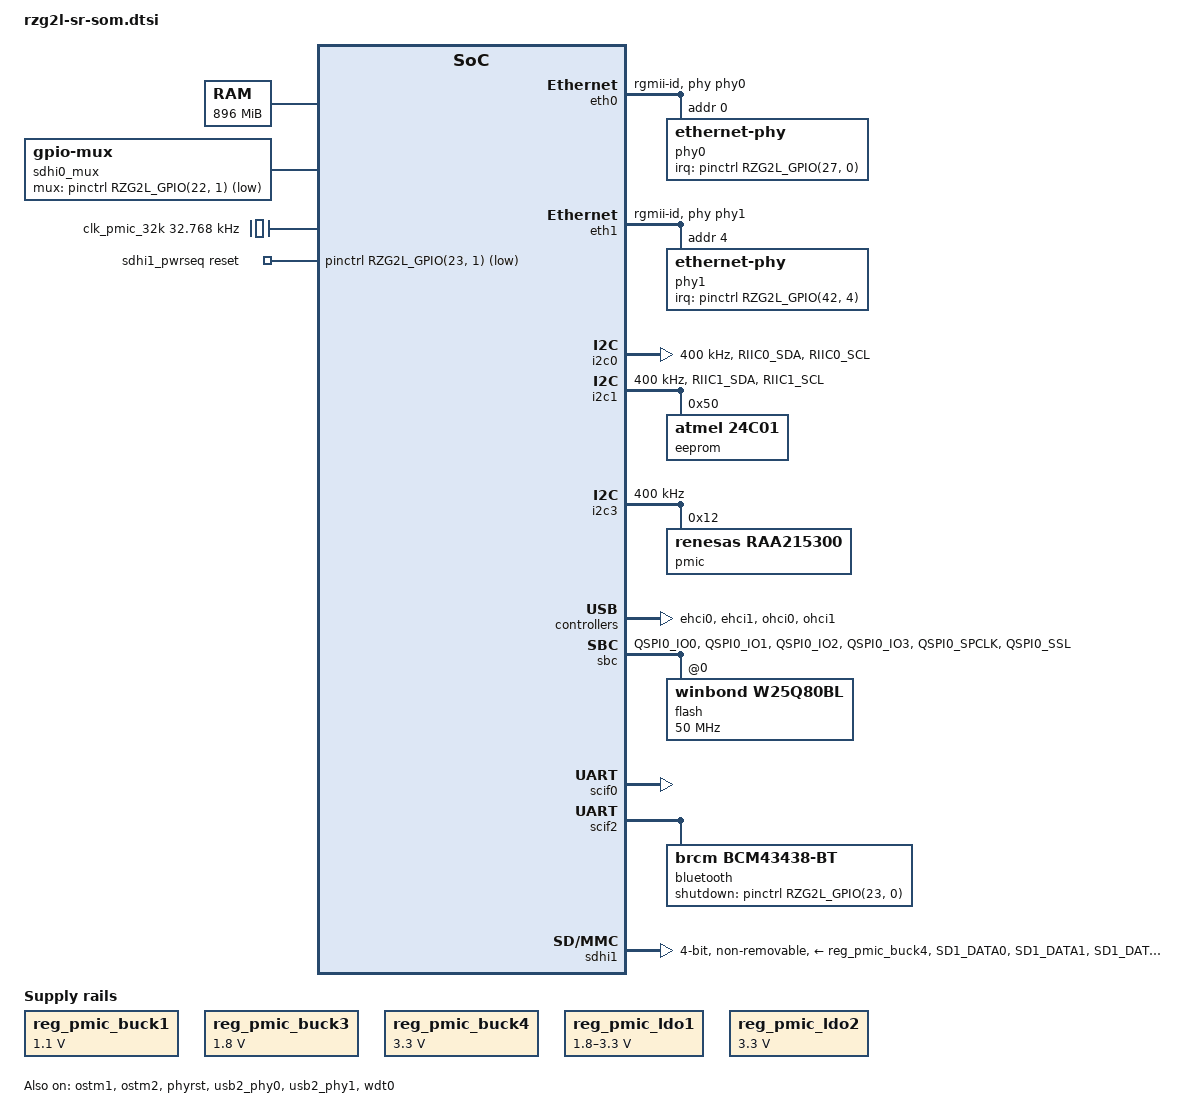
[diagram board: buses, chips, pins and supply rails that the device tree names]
// SPDX-License-Identifier: (GPL-2.0-only OR BSD-2-Clause)
/*
 * Device Tree Source for the RZ/G2LC Solidrun SOM
 *
 * Copyright 2023 SolidRun Ltd.
 * Copyright 2025 Josua Mayer <josua@solid-run.com>
 */

#include <dt-bindings/gpio/gpio.h>
#include <dt-bindings/pinctrl/rzg2l-pinctrl.h>

/ {
	aliases {
		serial0 = &scif0;
		serial1 = &scif1;
		serial2 = &scif2;
		i2c0 = &i2c0;
		i2c1 = &i2c1;
		i2c2 = &i2c3;
		mmc0 = &sdhi0;
		mmc1 = &sdhi1;
		ethernet0 = &eth0;
		ethernet1 = &eth1;
		rtc0 = &pmic;
	};

	chosen {
		stdout-path = "serial0:115200n8";
	};

	memory@48000000 {
		device_type = "memory";
		/* first 128MB is reserved for secure area. */
		reg = <0x0 0x48000000 0x0 0x38000000>;
	};

	reserved-memory {
		#address-cells = <2>;
		#size-cells = <2>;
		ranges;

		global_cma: linux,cma@58000000 {
			compatible = "shared-dma-pool";
			linux,cma-default;
			reusable;
			reg = <0x0 0x58000000 0x0 0x10000000>;
		};

		mmp_reserved: linux,multimedia {
			compatible = "shared-dma-pool";
			reusable;
			reg = <0x0 0x68000000 0x0 0x8000000>;
		};
	};

	mmngr {
		compatible = "renesas,mmngr";
		memory-region = <&mmp_reserved>;
	};

	mmngrbuf {
		compatible = "renesas,mmngrbuf";
	};

	vspm_if {
		compatible = "renesas,vspm_if";
	};

	sdhi0_mux: mux-controller-0 {
		compatible = "gpio-mux";
		#mux-control-cells = <0>;
		#mux-state-cells = <1>;
		/*
		 * Mux switches SD0_DATA[0-3], SD0_CMD & SD0_CLK between
		 * on-SoM eMMC and board-to-board connector using one gpio:
		 * 1 = connector, 0 = eMMC.
		 */
		mux-gpios = <&pinctrl RZG2L_GPIO(22, 1) GPIO_ACTIVE_LOW>;
	};

	clk_pmic_32k: pmic-32k-clock {
		compatible = "fixed-clock";
		#clock-cells = <0>;
		clock-frequency = <32768>;
	};

	reg_pmic_buck1: regulator-pmic-buck1 {
		compatible = "regulator-fixed";
		regulator-name = "pmic-buck1";
		regulator-min-microvolt = <1100000>;
		regulator-max-microvolt = <1100000>;
		regulator-boot-on;
		regulator-always-on;
	};

	reg_pmic_buck3: regulator-pmic-buck3 {
		compatible = "regulator-fixed";
		regulator-name = "pmic-buck3";
		regulator-min-microvolt = <1800000>;
		regulator-max-microvolt = <1800000>;
		regulator-boot-on;
		regulator-always-on;
	};

	reg_pmic_buck4: regulator-pmic-buck4 {
		compatible = "regulator-fixed";
		regulator-name = "pmic-buck4";
		regulator-min-microvolt = <3300000>;
		regulator-max-microvolt = <3300000>;
		regulator-boot-on;
		regulator-always-on;
	};

	reg_pmic_ldo1: regulator-pmic-ldo1 {
		compatible = "regulator-gpio";
		regulator-name = "pmic-ldo1";
		regulator-min-microvolt = <1800000>;
		regulator-max-microvolt = <3300000>;
		states = <3300000 1>, <1800000 0>;
		gpios = <&pinctrl RZG2L_GPIO(39, 0) GPIO_ACTIVE_HIGH>;
		regulator-boot-on;
		regulator-always-on;
	};

	reg_pmic_ldo2: regulator-pmic-ldo2 {
		compatible = "regulator-fixed";
		regulator-name = "pmic-ldo2";
		/*
		 * This ldo can switch mmc host controller io voltage between
		 * 1.8V and 3.3V by assembly option of pull-up / pull-dow.
		 * Default assembly is 3.3V.
		 */
		regulator-min-microvolt = <3300000>;
		regulator-max-microvolt = <3300000>;
		regulator-boot-on;
		regulator-always-on;
	};

	sdhi1_pwrseq: sdhi1-pwrseq {
		compatible = "mmc-pwrseq-simple";
		reset-gpios = <&pinctrl RZG2L_GPIO(23, 1) GPIO_ACTIVE_LOW>;
	};

	/* 32.768kHz crystal */
	x2: x2-clock {
		compatible = "fixed-clock";
		#clock-cells = <0>;
		clock-frequency = <32768>;
	};
};

&eth0 {
	pinctrl-0 = <&eth0_pins>;
	pinctrl-names = "default";
	phy-handle = <&phy0>;
	/*
	 * ravb driver does not configure mac internal delays for RZ/G2L(C),
	 * instead delays are added by the MxL86110 phy driver.
	 */
	phy-mode = "rgmii-id";
	status = "okay";

	phy0: ethernet-phy@0 {
		reg = <0>;
		interrupts-extended = <&pinctrl RZG2L_GPIO(27, 0) IRQ_TYPE_LEVEL_LOW>;
	};
};

&eth1 {
	pinctrl-0 = <&eth1_pins>;
	pinctrl-names = "default";
	phy-handle = <&phy1>;
	/*
	 * ravb driver does not configure mac internal delays for RZ/G2L(C),
	 * instead delays are added by the MxL86110 phy driver.
	 */
	phy-mode = "rgmii-id";
	status = "okay";

	phy1: ethernet-phy@4 {
		reg = <4>;
		interrupts-extended = <&pinctrl RZG2L_GPIO(42, 4) IRQ_TYPE_LEVEL_LOW>;
	};
};

&i2c0 {
	pinctrl-0 = <&i2c0_pins>;
	pinctrl-names = "default";
	clock-frequency = <400000>;
	status = "okay";
};

&i2c1 {
	pinctrl-0 = <&i2c1_pins>;
	pinctrl-names = "default";
	clock-frequency = <400000>;
	status = "okay";

	eeprom: eeprom@50 {
		compatible = "atmel,24c01";
		reg = <0x50>;
		pagesize = <16>;
	};
};

&i2c3 {
	pinctrl-0 = <&i2c3_pins>;
	pinctrl-names = "default";
	clock-frequency = <400000>;
	status = "okay";

	pmic: pmic@12 {
		compatible = "renesas,raa215300";
		reg = <0x12>, <0x6f>;
		reg-names = "main", "rtc";
		clocks = <&x2>;
		clock-names = "xin";
		/* enable MPIO0 reset output implementing restart handler */
		reset-output;
	};
};

&ehci0 {
	status = "okay";
};

&ehci1 {
	status = "okay";
};

&extal_clk {
	clock-frequency = <24000000>;
};

&gpu {
	mali-supply = <&reg_pmic_buck1>;
};

&ohci0 {
	status = "okay";
};

&ohci1 {
	status = "okay";
};

&ostm1 {
	status = "okay";
};

&ostm2 {
	status = "okay";
};

&phyrst {
	status = "okay";

	usb0_vbus_otg: regulator-vbus {
		regulator-name = "vbus";
	};
};

&pinctrl {
	eth0_pins: eth0 {
		pinmux = <RZG2L_PORT_PINMUX(28, 1, 1)>, /* ET0_LINKSTA */
			 <RZG2L_PORT_PINMUX(27, 1, 1)>, /* ET0_MDC */
			 <RZG2L_PORT_PINMUX(28, 0, 1)>, /* ET0_MDIO */
			 <RZG2L_PORT_PINMUX(20, 0, 1)>, /* ET0_TXC */
			 <RZG2L_PORT_PINMUX(20, 1, 1)>, /* ET0_TX_CTL */
			 <RZG2L_PORT_PINMUX(20, 2, 1)>, /* ET0_TXD0 */
			 <RZG2L_PORT_PINMUX(21, 0, 1)>, /* ET0_TXD1 */
			 <RZG2L_PORT_PINMUX(21, 1, 1)>, /* ET0_TXD2 */
			 <RZG2L_PORT_PINMUX(22, 0, 1)>, /* ET0_TXD3 */
			 <RZG2L_PORT_PINMUX(24, 0, 1)>, /* ET0_RXC */
			 <RZG2L_PORT_PINMUX(24, 1, 1)>, /* ET0_RX_CTL */
			 <RZG2L_PORT_PINMUX(25, 0, 1)>, /* ET0_RXD0 */
			 <RZG2L_PORT_PINMUX(25, 1, 1)>, /* ET0_RXD1 */
			 <RZG2L_PORT_PINMUX(26, 0, 1)>, /* ET0_RXD2 */
			 <RZG2L_PORT_PINMUX(26, 1, 1)>; /* ET0_RXD3 */
	};

	eth1_pins: eth1 {
		pinmux = <RZG2L_PORT_PINMUX(37, 2, 1)>, /* ET1_LINKSTA */
			 <RZG2L_PORT_PINMUX(37, 0, 1)>, /* ET1_MDC */
			 <RZG2L_PORT_PINMUX(37, 1, 1)>, /* ET1_MDIO */
			 <RZG2L_PORT_PINMUX(29, 0, 1)>, /* ET1_TXC */
			 <RZG2L_PORT_PINMUX(29, 1, 1)>, /* ET1_TX_CTL */
			 <RZG2L_PORT_PINMUX(30, 0, 1)>, /* ET1_TXD0 */
			 <RZG2L_PORT_PINMUX(30, 1, 1)>, /* ET1_TXD1 */
			 <RZG2L_PORT_PINMUX(31, 0, 1)>, /* ET1_TXD2 */
			 <RZG2L_PORT_PINMUX(31, 1, 1)>, /* ET1_TXD3 */
			 <RZG2L_PORT_PINMUX(33, 1, 1)>, /* ET1_RXC */
			 <RZG2L_PORT_PINMUX(34, 0, 1)>, /* ET1_RX_CTL */
			 <RZG2L_PORT_PINMUX(34, 1, 1)>, /* ET1_RXD0 */
			 <RZG2L_PORT_PINMUX(35, 0, 1)>, /* ET1_RXD1 */
			 <RZG2L_PORT_PINMUX(35, 1, 1)>, /* ET1_RXD2 */
			 <RZG2L_PORT_PINMUX(36, 0, 1)>; /* ET1_RXD3 */
	};

	i2c0_pins: i2c0 {
		pins = "RIIC0_SDA", "RIIC0_SCL";
		input-enable;
	};

	i2c1_pins: i2c1 {
		pins = "RIIC1_SDA", "RIIC1_SCL";
		input-enable;
	};

	i2c3_pins: i2c3 {
		pinmux = <RZG2L_PORT_PINMUX(18, 0, 3)>, /* RIIC3_SDA */
			 <RZG2L_PORT_PINMUX(18, 1, 3)>; /* RIIC3_SCL */
	};

	qspi0_pins: qspi0 {
		pins = "QSPI0_IO0", "QSPI0_IO1", "QSPI0_IO2", "QSPI0_IO3",
		       "QSPI0_SPCLK", "QSPI0_SSL";
		power-source = <1800>;
	};

	scif0_pins: scif0 {
		pinmux = <RZG2L_PORT_PINMUX(38, 0, 1)>,	/* SCIF0_TXD */
			 <RZG2L_PORT_PINMUX(38, 1, 1)>;	/* SCIF0_RXD */
	};

	scif2_pins: scif2 {
		pinmux = <RZG2L_PORT_PINMUX(48, 0, 1)>, /* SCIF2_TXD */
			 <RZG2L_PORT_PINMUX(48, 1, 1)>, /* SCIF2_RXD */
			 <RZG2L_PORT_PINMUX(48, 3, 1)>, /* SCIF2_CTS# */
			 <RZG2L_PORT_PINMUX(48, 4, 1)>; /* SCIF2_RTS# */
	};

	sdhi0_pins: sdhi0 {
		pins = "SD0_DATA0", "SD0_DATA1", "SD0_DATA2", "SD0_DATA3",
		       "SD0_DATA4", "SD0_DATA5", "SD0_DATA6", "SD0_DATA7",
		       "SD0_CLK", "SD0_CMD";
		power-source = <3300>;
	};

	sdhi0_uhs_pins: sdhi0 {
		pins = "SD0_DATA0", "SD0_DATA1", "SD0_DATA2", "SD0_DATA3",
		       "SD0_DATA4", "SD0_DATA5", "SD0_DATA6", "SD0_DATA7",
		       "SD0_CLK", "SD0_CMD";
		power-source = <1800>;
	};

	/* SD0_RST is only routed to eMMC which uses fixed 1.8V IO voltage */
	sdhi0_rst_pins: sdhi0-rst {
		pins = "SD0_RST#";
		power-source = <1800>;
	};

	sdhi0_cd_pins: sdhi0-cd {
		pinmux = <RZG2L_PORT_PINMUX(47, 0, 2)>; /* SD0_CD */
	};

	sdhi1_pins: sdhi1 {
		pins = "SD1_DATA0", "SD1_DATA1", "SD1_DATA2", "SD1_DATA3",
		       "SD1_CLK", "SD1_CMD";
		power-source = <3300>;
	};

	usb0_vbus_pins: usb0-vbus {
		pinmux = <RZG2L_PORT_PINMUX(4, 0, 1)>; /* USB0_VBUSEN */
	};

	usb1_vbus_pins: usb1-vbus {
		pinmux = <RZG2L_PORT_PINMUX(42, 0, 1)>; /* USB1_VBUSEN */
	};
};

&sbc {
	pinctrl-0 = <&qspi0_pins>;
	pinctrl-names = "default";
	status = "okay";

	flash@0 {
		compatible = "winbond,w25q80bl", "jedec,spi-nor";
		reg = <0>;
		spi-max-frequency = <50000000>;
		m25p,fast-read;
	};
};

&scif0 {
	pinctrl-0 = <&scif0_pins>;
	pinctrl-names = "default";
	status = "okay";
};

&scif2 {
	pinctrl-0 = <&scif2_pins>;
	pinctrl-names = "default";
	uart-has-rtscts;
	status = "okay";

	bluetooth {
		/*
		 * The BT is based on BCM4345C0. Murata 1MW variant seems to
		 * require driving RTS on open.
		 * Use compatible bcm43438 to accomplish this.
		 */
		compatible = "brcm,bcm43438-bt";
		shutdown-gpios = <&pinctrl RZG2L_GPIO(23, 0) GPIO_ACTIVE_HIGH>;
		/*
		 * With P1 clock at 100MHz, RZ/G2L CPG can only generate few
		 * standard rates with low error rate. The best high-speed
		 * rate is 921600.
		 */
		max-speed = <921600>;
	};
};

/* WiFi */
&sdhi1 {
	pinctrl-0 = <&sdhi1_pins>;
	pinctrl-names = "default";
	vmmc-supply = <&reg_pmic_buck4>;
	/*
	 * Host controller IO voltage is provided from reg_pmic_ldo2,
	 * WiFi module IO voltage from reg_pmic_buck4.
	 * Neither is configurable at run-time so either can be set here.
	 */
	vqmmc-supply = <&reg_pmic_ldo2>;
	mmc-pwrseq = <&sdhi1_pwrseq>;
	no-sd;
	no-1-8-v;
	bus-width = <4>;
	non-removable;
	/* Murata 1MW max rate is 50MHz */
	max-frequency = <50000000>;
	status = "okay";
};

&usb2_phy0 {
	vbus-supply = <&usb0_vbus_otg>;
	status = "okay";
};

&usb2_phy1 {
	status = "okay";
};

&wdt0 {
	status = "okay";
};
